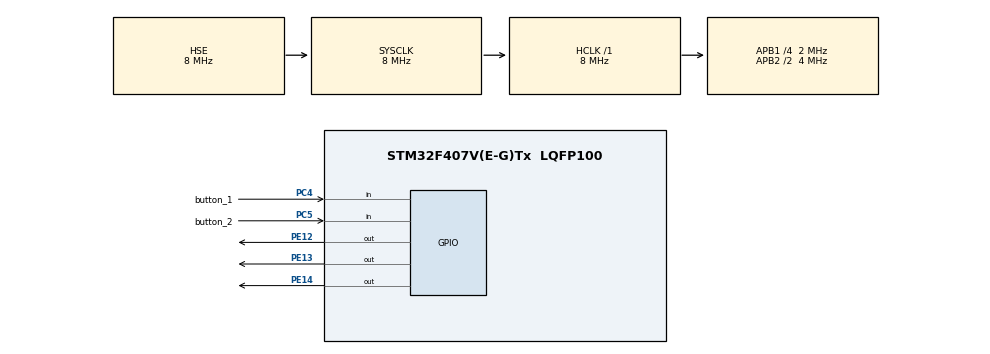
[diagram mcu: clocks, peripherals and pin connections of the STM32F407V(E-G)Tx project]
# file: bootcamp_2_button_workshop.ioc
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Mcu.Family=STM32F4
Mcu.Name=STM32F407V(E-G)Tx
Mcu.Package=LQFP100
NVIC.PriorityGroup=NVIC_PRIORITYGROUP_0
PA13.Mode=Serial_Wire
PA13.Signal=SYS_JTMS-SWDIO
PA14.Mode=Serial_Wire
PA14.Signal=SYS_JTCK-SWCLK
PC4.GPIO_Label=button_1
PC4.GPIO_PuPd=GPIO_PULLDOWN
PC4.Signal=GPIO_Input
PC5.GPIO_Label=button_2
PC5.GPIO_PuPd=GPIO_PULLUP
PC5.Signal=GPIO_Input
PE12.Signal=GPIO_Output
PE13.Signal=GPIO_Output
PE14.Signal=GPIO_Output
PH0-OSC_IN.Mode=HSE-External-Oscillator
PH0-OSC_IN.Signal=RCC_OSC_IN
PH1-OSC_OUT.Mode=HSE-External-Oscillator
PH1-OSC_OUT.Signal=RCC_OSC_OUT
ProjectManager.HeapSize=0x200
ProjectManager.StackSize=0x400
ProjectManager.TargetToolchain=MDK-ARM V5.32
RCC.48MHZClocksFreq_Value=48000000
RCC.AHBFreq_Value=8000000
RCC.APB1CLKDivider=RCC_HCLK_DIV4
RCC.APB1Freq_Value=2000000
RCC.APB1TimFreq_Value=4000000
RCC.APB2CLKDivider=RCC_HCLK_DIV2
RCC.APB2Freq_Value=4000000
RCC.APB2TimFreq_Value=8000000
RCC.CortexFreq_Value=8000000
RCC.HCLKFreq_Value=8000000
RCC.HSE_VALUE=8000000
RCC.HSI_VALUE=16000000
RCC.PLLM=8
RCC.PLLN=336
RCC.PLLQ=7
RCC.PLLSourceVirtual=RCC_PLLSOURCE_HSE
RCC.SYSCLKFreq_VALUE=8000000
RCC.SYSCLKSource=RCC_SYSCLKSOURCE_HSE
RCC.VCOOutputFreq_Value=336000000
board=STM32F407G-DISC1

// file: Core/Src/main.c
/* USER CODE BEGIN Header */
/**
  ******************************************************************************
  * @file           : main.c
  * @brief          : Main program body
  ******************************************************************************
  * @attention
  *
  * <h2><center>&copy; Copyright (c) 2022 STMicroelectronics.
  * All rights reserved.</center></h2>
  *
  * This software component is licensed by ST under BSD 3-Clause license,
  * the "License"; You may not use this file except in compliance with the
  * License. You may obtain a copy of the License at:
  *                        opensource.org/licenses/BSD-3-Clause
  *
  ******************************************************************************
  */
/* USER CODE END Header */
#include "main.h"

void SystemClock_Config(void);
static void MX_GPIO_Init(void);

int main(void)
{

  /* MCU Configuration--------------------------------------------------------*/

  /* Reset of all peripherals, Initializes the Flash interface and the Systick. */
  HAL_Init();

  /* Configure the system clock */
  SystemClock_Config();

  /* Initialize all configured peripherals */
  MX_GPIO_Init();

  /* Infinite loop */
  while (1)
  {

    /* USER CODE BEGIN 3 */
		if(HAL_GPIO_ReadPin(button_1_GPIO_Port,button_1_Pin)==1){
			HAL_GPIO_WritePin(GPIOE,GPIO_PIN_12,GPIO_PIN_SET);
			HAL_GPIO_WritePin(GPIOE,GPIO_PIN_13,GPIO_PIN_SET);
			HAL_GPIO_WritePin(GPIOE,GPIO_PIN_14,GPIO_PIN_RESET);

  }
			if(HAL_GPIO_ReadPin(button_2_GPIO_Port,button_2_Pin)==0){
				HAL_GPIO_WritePin(GPIOE,GPIO_PIN_13,GPIO_PIN_SET);
				HAL_GPIO_WritePin(GPIOE,GPIO_PIN_14,GPIO_PIN_SET);
				HAL_GPIO_WritePin(GPIOE,GPIO_PIN_12,GPIO_PIN_RESET);
			}
			if(HAL_GPIO_ReadPin(button_1_GPIO_Port,button_1_Pin)==1 && HAL_GPIO_ReadPin(button_2_GPIO_Port,button_2_Pin)==0){
				HAL_GPIO_WritePin(GPIOE,GPIO_PIN_12,GPIO_PIN_SET);
				HAL_GPIO_WritePin(GPIOE,GPIO_PIN_14,GPIO_PIN_SET);
				HAL_GPIO_WritePin(GPIOE,GPIO_PIN_13,GPIO_PIN_RESET);
			}

			else if(HAL_GPIO_ReadPin(button_1_GPIO_Port,button_1_Pin)==0 && HAL_GPIO_ReadPin(button_2_GPIO_Port,button_2_Pin)==1){
				HAL_GPIO_WritePin(GPIOE,GPIO_PIN_13,GPIO_PIN_SET);
				HAL_GPIO_WritePin(GPIOE,GPIO_PIN_12,GPIO_PIN_RESET);
				HAL_GPIO_WritePin(GPIOE,GPIO_PIN_14,GPIO_PIN_RESET);
			}
			// hata var kod temiz ama tekrar bak ayrica devre baglantisina bak ***
			// buton1 basinca tek renk <<-->> buton2 basinca 3 renk <<-->> hic basmayinca 2 renk <<-->>
			// cift basinca 2 renk yaniyor
  }
  /* USER CODE END 3 */
}

void SystemClock_Config(void)
{
  RCC_OscInitTypeDef RCC_OscInitStruct = {0};
  RCC_ClkInitTypeDef RCC_ClkInitStruct = {0};

  /** Configure the main internal regulator output voltage
  */
  __HAL_RCC_PWR_CLK_ENABLE();
  __HAL_PWR_VOLTAGESCALING_CONFIG(PWR_REGULATOR_VOLTAGE_SCALE1);
  /** Initializes the RCC Oscillators according to the specified parameters
  * in the RCC_OscInitTypeDef structure.
  */
  RCC_OscInitStruct.OscillatorType = RCC_OSCILLATORTYPE_HSE;
  RCC_OscInitStruct.HSEState = RCC_HSE_ON;
  RCC_OscInitStruct.PLL.PLLState = RCC_PLL_NONE;
  if (HAL_RCC_OscConfig(&RCC_OscInitStruct) != HAL_OK)
  {
    Error_Handler();
  }
  /** Initializes the CPU, AHB and APB buses clocks
  */
  RCC_ClkInitStruct.ClockType = RCC_CLOCKTYPE_HCLK|RCC_CLOCKTYPE_SYSCLK
                              |RCC_CLOCKTYPE_PCLK1|RCC_CLOCKTYPE_PCLK2;
  RCC_ClkInitStruct.SYSCLKSource = RCC_SYSCLKSOURCE_HSE;
  RCC_ClkInitStruct.AHBCLKDivider = RCC_SYSCLK_DIV1;
  RCC_ClkInitStruct.APB1CLKDivider = RCC_HCLK_DIV4;
  RCC_ClkInitStruct.APB2CLKDivider = RCC_HCLK_DIV2;

  if (HAL_RCC_ClockConfig(&RCC_ClkInitStruct, FLASH_LATENCY_0) != HAL_OK)
  {
    Error_Handler();
  }
}

static void MX_GPIO_Init(void)
{
  GPIO_InitTypeDef GPIO_InitStruct = {0};

  /* GPIO Ports Clock Enable */
  __HAL_RCC_GPIOH_CLK_ENABLE();
  __HAL_RCC_GPIOC_CLK_ENABLE();
  __HAL_RCC_GPIOE_CLK_ENABLE();
  __HAL_RCC_GPIOA_CLK_ENABLE();

  /*Configure GPIO pin Output Level */
  HAL_GPIO_WritePin(GPIOE, GPIO_PIN_12|GPIO_PIN_13|GPIO_PIN_14, GPIO_PIN_RESET);

  /*Configure GPIO pin : button_1_Pin */
  GPIO_InitStruct.Pin = button_1_Pin;
  GPIO_InitStruct.Mode = GPIO_MODE_INPUT;
  GPIO_InitStruct.Pull = GPIO_PULLDOWN;
  HAL_GPIO_Init(button_1_GPIO_Port, &GPIO_InitStruct);

  /*Configure GPIO pin : button_2_Pin */
  GPIO_InitStruct.Pin = button_2_Pin;
  GPIO_InitStruct.Mode = GPIO_MODE_INPUT;
  GPIO_InitStruct.Pull = GPIO_PULLUP;
  HAL_GPIO_Init(button_2_GPIO_Port, &GPIO_InitStruct);

  /*Configure GPIO pins : PE12 PE13 PE14 */
  GPIO_InitStruct.Pin = GPIO_PIN_12|GPIO_PIN_13|GPIO_PIN_14;
  GPIO_InitStruct.Mode = GPIO_MODE_OUTPUT_PP;
  GPIO_InitStruct.Pull = GPIO_NOPULL;
  GPIO_InitStruct.Speed = GPIO_SPEED_FREQ_LOW;
  HAL_GPIO_Init(GPIOE, &GPIO_InitStruct);

}

void Error_Handler(void)
{
  __disable_irq();
  while (1)
  {
  }
}

/************************ (C) COPYRIGHT STMicroelectronics *****END OF FILE****/
